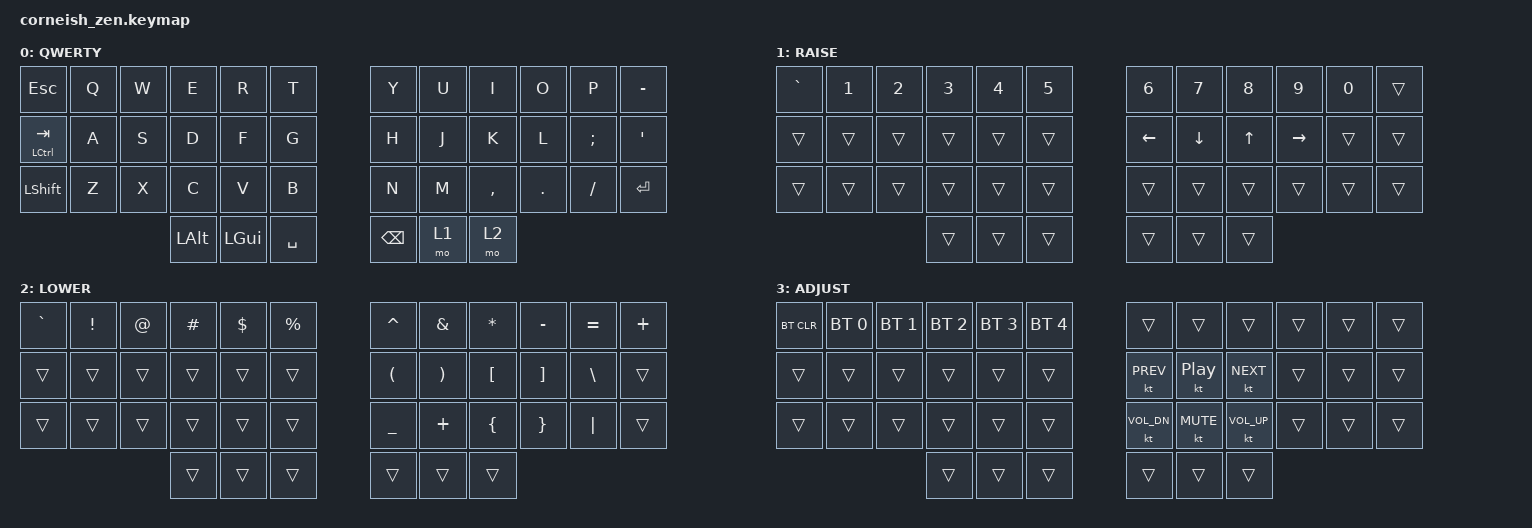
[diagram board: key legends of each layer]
/*
*
* Copyright (c) 2021 Darryl deHaan
* SPDX-License-Identifier: MIT
*
*/

#include <behaviors.dtsi>
#include <dt-bindings/zmk/bt.h>
#include <dt-bindings/zmk/keys.h>
#include <dt-bindings/zmk/keys.h>

/ {
    keymap {
        compatible = "zmk,keymap";

        default_layer {
            label = "QWERTY";
            bindings = <
&kp ESC         &kp Q  &kp W  &kp E     &kp R     &kp T        &kp Y          &kp U  &kp I      &kp O    &kp P          &kp MINUS
&mt LCTRL TAB   &kp A  &kp S  &kp D     &kp F     &kp G        &kp H          &kp J  &kp K      &kp L    &kp SEMICOLON  &kp SINGLE_QUOTE
&kp LEFT_SHIFT  &kp Z  &kp X  &kp C     &kp V     &kp B        &kp N          &kp M  &kp COMMA  &kp DOT  &kp FSLH       &kp RET
                              &kp LALT  &kp LGUI  &kp SPACE    &kp BACKSPACE  &mo 1  &mo 2
            >;
        };

        RAISE {
            label = "RAISE";
            bindings = <
&kp GRAVE  &kp N1  &kp N2  &kp N3  &kp N4  &kp N5    &kp N6    &kp N7    &kp N8        &kp N9     &kp N0  &trans
&trans     &trans  &trans  &trans  &trans  &trans    &kp LEFT  &kp DOWN  &kp UP_ARROW  &kp RIGHT  &trans  &trans
&trans     &trans  &trans  &trans  &trans  &trans    &trans    &trans    &trans        &trans     &trans  &trans
                           &trans  &trans  &trans    &trans    &trans    &trans
            >;
        };

        LOWER {
            label = "LOWER";
            bindings = <
&kp GRAVE  &kp EXCLAMATION  &kp AT_SIGN  &kp HASH  &kp DOLLAR  &kp PERCENT    &kp CARET             &kp AMPERSAND          &kp ASTERISK    &kp MINUS        &kp EQUAL  &kp PLUS
&trans     &trans           &trans       &trans    &trans      &trans         &kp LEFT_PARENTHESIS  &kp RIGHT_PARENTHESIS  &kp LBKT        &kp RBKT         &kp BSLH   &trans
&trans     &trans           &trans       &trans    &trans      &trans         &kp UNDERSCORE        &kp PLUS               &kp LEFT_BRACE  &kp RIGHT_BRACE  &kp PIPE   &trans
                                         &trans    &trans      &trans         &trans                &trans                 &trans
            >;
        };

        ADJUST {
            bindings = <
&bt BT_CLR  &bt BT_SEL 0  &bt BT_SEL 1  &bt BT_SEL 2  &bt BT_SEL 3  &bt BT_SEL 4    &trans        &trans            &trans        &trans  &trans  &trans
&trans      &trans        &trans        &trans        &trans        &trans          &kt C_PREV    &kt C_PLAY_PAUSE  &kt C_NEXT    &trans  &trans  &trans
&trans      &trans        &trans        &trans        &trans        &trans          &kt C_VOL_DN  &kt C_MUTE        &kt C_VOL_UP  &trans  &trans  &trans
                                        &trans        &trans        &trans          &trans        &trans            &trans
            >;
        };
    };

    conditional_layers {
        compatible = "zmk,conditional-layers";

        ADJUST {
            if-layers = <1 2>;
            then-layer = <3>;
        };
    };
};
